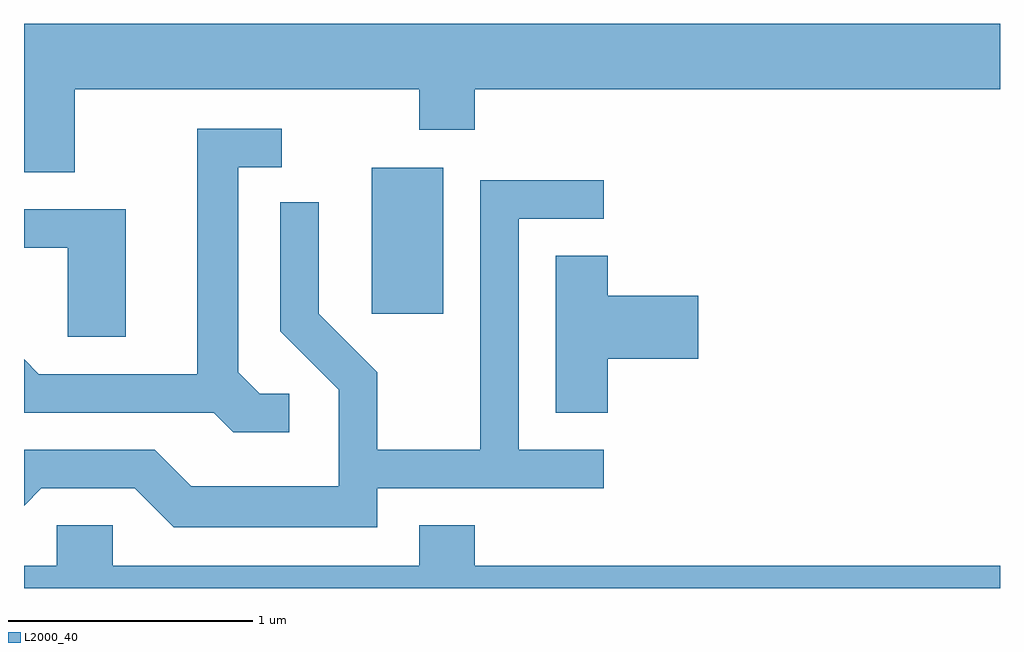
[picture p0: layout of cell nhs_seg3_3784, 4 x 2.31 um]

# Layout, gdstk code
import gdstk
lib = gdstk.Library(unit=1e-6, precision=1e-09)
def R(c, l, rs):  # rectangles x0, y0, x1, y1
    for r in rs: c.add(gdstk.rectangle(r[:2], r[2:], *l))
def P(c, l, *ps):  # polygons
    for p in ps: c.add(gdstk.Polygon(p, *l))
L2000_40 = (2000, 40)

nhs_seg3_3784 = lib.new_cell('nhs_seg3_3784')
R(nhs_seg3_3784, L2000_40, [(297.036,1205.016,297.329,1205.614)])
P(nhs_seg3_3784, L2000_40, [(295.819,1205.936),(297.231,1205.936),(297.231,1205.771),(297.459,1205.771),(297.459,1205.936),(299.611,1205.936),(299.611,1206.204),(295.611,1206.204),(295.611,1205.596),(295.819,1205.596)],
  [(296.698,1204.689),(296.577,1204.689),(296.489,1204.777),(296.489,1205.616),(296.668,1205.616),(296.668,1205.774),(296.321,1205.774),(296.321,1204.769),(295.672,1204.769),(295.611,1204.83),(295.611,1204.611),(296.389,1204.611),(296.469,1204.531),(296.698,1204.531)],
  [(297.059,1204.301),(297.988,1204.301),(297.988,1204.459),(297.639,1204.459),(297.639,1205.406),(297.988,1205.406),(297.988,1205.564),(297.481,1205.564),(297.481,1204.459),(297.059,1204.459),(297.059,1204.777),(296.819,1205.017),(296.819,1205.473),(296.661,1205.473),(296.661,1204.944),(296.901,1204.704),(296.901,1204.309),(296.297,1204.309),(296.147,1204.459),(295.611,1204.459),(295.611,1204.23),(295.682,1204.301),(296.064,1204.301),(296.224,1204.141),(297.059,1204.141)],
  [(296.029,1205.444),(295.611,1205.444),(295.611,1205.286),(295.791,1205.286),(295.791,1204.921),(296.029,1204.921)],
  [(298.004,1204.831),(298.374,1204.831),(298.374,1205.089),(298.004,1205.089),(298.004,1205.254),(297.791,1205.254),(297.791,1204.611),(298.004,1204.611)],
  [(299.611,1203.984),(297.459,1203.984),(297.459,1204.149),(297.231,1204.149),(297.231,1203.984),(295.974,1203.984),(295.974,1204.149),(295.746,1204.149),(295.746,1203.984),(295.611,1203.984),(295.611,1203.892),(299.611,1203.892)])

lib.write_gds('nhs_seg3_3784.gds')
